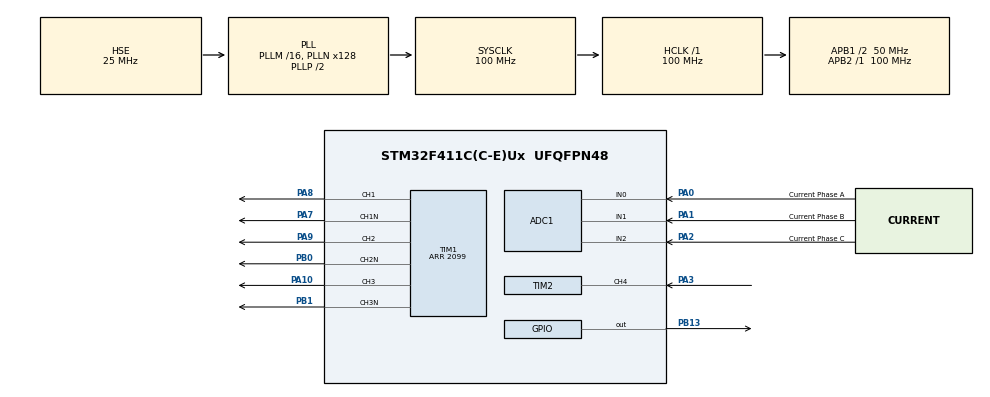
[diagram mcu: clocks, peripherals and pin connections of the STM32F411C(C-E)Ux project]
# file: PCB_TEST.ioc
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ADC1.Channel-0\#ChannelRegularConversion=ADC_CHANNEL_0
ADC1.Channel-1\#ChannelInjectedConversion=ADC_CHANNEL_0
ADC1.Channel-2\#ChannelInjectedConversion=ADC_CHANNEL_1
ADC1.ExternalTrigInjecConv=ADC_EXTERNALTRIGINJECCONV_T1_TRGO
ADC1.InjNumberOfConversion=2
ADC1.InjectedOffset-1\#ChannelInjectedConversion=0
ADC1.InjectedOffset-2\#ChannelInjectedConversion=0
ADC1.InjectedRank-1\#ChannelInjectedConversion=1
ADC1.InjectedRank-2\#ChannelInjectedConversion=2
ADC1.NbrOfConversion=1
ADC1.NbrOfConversionFlag=1
ADC1.Rank-0\#ChannelRegularConversion=1
ADC1.SamplingTime-0\#ChannelRegularConversion=ADC_SAMPLETIME_3CYCLES
ADC1.SamplingTime-1\#ChannelInjectedConversion=ADC_SAMPLETIME_3CYCLES
ADC1.SamplingTime-2\#ChannelInjectedConversion=ADC_SAMPLETIME_3CYCLES
ADC1.master=1
Mcu.Family=STM32F4
Mcu.Name=STM32F411C(C-E)Ux
Mcu.Package=UFQFPN48
NVIC.ADC_IRQn=true\:0\:0\:false\:false\:true\:true\:true\:true
NVIC.PriorityGroup=NVIC_PRIORITYGROUP_4
NVIC.TIM1_UP_TIM10_IRQn=true\:0\:0\:false\:false\:true\:true\:true\:true
NVIC.TIM2_IRQn=true\:0\:0\:false\:false\:true\:true\:true\:true
PA0-WKUP.GPIO_Label=Current Phase A
PA0-WKUP.Signal=ADCx_IN0
PA1.GPIO_Label=Current Phase B
PA1.Signal=ADCx_IN1
PA10.Signal=S_TIM1_CH3
PA13.Mode=Serial_Wire
PA13.Signal=SYS_JTMS-SWDIO
PA14.Mode=Serial_Wire
PA14.Signal=SYS_JTCK-SWCLK
PA2.GPIO_Label=Current Phase C
PA2.Signal=ADCx_IN2
PA3.Signal=S_TIM2_CH4
PA7.Mode=PWM Generation1 CH1 CH1N
PA7.Signal=TIM1_CH1N
PA8.Signal=S_TIM1_CH1
PA9.Signal=S_TIM1_CH2
PB0.Mode=PWM Generation2 CH2 CH2N
PB0.Signal=TIM1_CH2N
PB1.Mode=PWM Generation3 CH3 CH3N
PB1.Signal=TIM1_CH3N
PB13.Signal=GPIO_Output
PB6.Signal=USART1_TX
PB7.Signal=USART1_RX
PH0\ -\ OSC_IN.Mode=HSE-External-Oscillator
PH0\ -\ OSC_IN.Signal=RCC_OSC_IN
PH1\ -\ OSC_OUT.Mode=HSE-External-Oscillator
PH1\ -\ OSC_OUT.Signal=RCC_OSC_OUT
ProjectManager.HeapSize=0x200
ProjectManager.StackSize=0x400
ProjectManager.TargetToolchain=STM32CubeIDE
RCC.48MHZClocksFreq_Value=50000000
RCC.AHBFreq_Value=100000000
RCC.APB1CLKDivider=RCC_HCLK_DIV2
RCC.APB1Freq_Value=50000000
RCC.APB1TimFreq_Value=100000000
RCC.APB2Freq_Value=100000000
RCC.APB2TimFreq_Value=100000000
RCC.CortexFreq_Value=100000000
RCC.HCLKFreq_Value=100000000
RCC.HSE_VALUE=25000000
RCC.HSI_VALUE=16000000
RCC.LSE_VALUE=32768
RCC.PLLN=128
RCC.PLLSourceVirtual=RCC_PLLSOURCE_HSE
RCC.SYSCLKFreq_VALUE=100000000
RCC.SYSCLKSource=RCC_SYSCLKSOURCE_PLLCLK
RCC.VCOOutputFreq_Value=200000000
SH.ADCx_IN0.0=ADC1_IN0,IN0
SH.ADCx_IN1.0=ADC1_IN1,IN1
SH.ADCx_IN2.0=ADC1_IN2,IN2
SH.S_TIM1_CH1.0=TIM1_CH1,PWM Generation1 CH1 CH1N
SH.S_TIM1_CH2.0=TIM1_CH2,PWM Generation2 CH2 CH2N
SH.S_TIM1_CH3.0=TIM1_CH3,PWM Generation3 CH3 CH3N
SH.S_TIM2_CH4.0=TIM2_CH4,Input_Capture4_from_TI4
TIM1.Channel-PWM\ Generation1\ CH1\ CH1N=TIM_CHANNEL_1
TIM1.Channel-PWM\ Generation2\ CH2\ CH2N=TIM_CHANNEL_2
TIM1.Channel-PWM\ Generation3\ CH3\ CH3N=TIM_CHANNEL_3
TIM1.CounterMode=TIM_COUNTERMODE_CENTERALIGNED1
TIM1.DeadTime=120
TIM1.Period=2099
TIM1.TIM_MasterOutputTrigger=TIM_TRGO_UPDATE
TIM2.Channel-Input_Capture4_from_TI4=TIM_CHANNEL_4
TIM2.Prescaler=99
board=custom

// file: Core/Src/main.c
/* USER CODE BEGIN Header */
/**
  ******************************************************************************
  * @file           : main.c
  * @brief          : Main program body
  ******************************************************************************
  * @attention
  *
  * Copyright (c) 2026 STMicroelectronics.
  * All rights reserved.
  *
  * This software is licensed under terms that can be found in the LICENSE file
  * in the root directory of this software component.
  * If no LICENSE file comes with this software, it is provided AS-IS.
  *
  ******************************************************************************
  */
/* USER CODE END Header */
#include "main.h"

/* USER CODE BEGIN Includes */
#include "foc.h"
/* USER CODE END Includes */

ADC_HandleTypeDef hadc1;

TIM_HandleTypeDef htim1;
TIM_HandleTypeDef htim2;

/* USER CODE BEGIN PV */
FOC_Motor motor1;
uint16_t offset_A = 0;
uint16_t offset_B = 0;
//real Ia, Ib, Ic
float Ia = 0.0f;
float Ib = 0.0f;
float Ic = 0.0f;
#define ADC_TO_AMPS_FACTOR  0.0125f
/* USER CODE END PV */

void SystemClock_Config(void);
static void MX_GPIO_Init(void);
static void MX_TIM1_Init(void);
static void MX_ADC1_Init(void);
static void MX_TIM2_Init(void);

/* USER CODE BEGIN 0 */
void FOC_SetPWM_Hardware(float dutyA, float dutyB, float dutyC) {
    TIM1->CCR1 = (uint16_t)(dutyA * PWM_PERIOD_ARR);
    TIM1->CCR2 = (uint16_t)(dutyB * PWM_PERIOD_ARR);
    TIM1->CCR3 = (uint16_t)(dutyC * PWM_PERIOD_ARR);
}
void Calibrate_ADC_Offset(void) {
    uint32_t sum_A = 0;
    uint32_t sum_B = 0;

    // 0. BẬT NGUỒN KHỐI ADC LÊN TRƯỚC (QUAN TRỌNG NHẤT!)
    __HAL_ADC_ENABLE(&hadc1);

    // Chờ 1 chút xíu (khoảng vài micro giây) để điện áp lõi ADC ổn định
    for(volatile int wait = 0; wait < 10000; wait++);

    // 1. Lưu lại cấu hình Trigger hiện tại của CubeMX
    uint32_t old_cr2 = hadc1.Instance->CR2;

    // 2. Tắt External Trigger để ép ADC đọc thủ công bằng phần mềm
    hadc1.Instance->CR2 &= ~ADC_CR2_JEXTEN;

    // 3. Đọc 1000 mẫu siêu tốc
    for(int i = 0; i < 1000; i++) {
        hadc1.Instance->CR2 |= ADC_CR2_JSWSTART;        // Bóp cò bằng phần mềm
        while((hadc1.Instance->SR & ADC_SR_JEOC) == 0); // CHẮC CHẮN KHÔNG CÒN BỊ TREO Ở ĐÂY NỮA
        hadc1.Instance->SR &= ~ADC_SR_JEOC;             // Xóa cờ hoàn thành

        sum_A += hadc1.Instance->JDR1;
        sum_B += hadc1.Instance->JDR2;
    }

    // 4. Chia trung bình để lấy Offset thực tế
    offset_A = sum_A / 1000;
    offset_B = sum_B / 1000;

    // 5. Trả lại cấu hình Trigger phần cứng từ Timer 1
    hadc1.Instance->CR2 = old_cr2;
}

void HAL_ADCEx_InjectedConvCpltCallback(ADC_HandleTypeDef* hadc) {
    if (hadc->Instance == ADC1) {
        uint16_t raw_ADC_A = hadc->Instance->JDR1;
        uint16_t raw_ADC_B = hadc->Instance->JDR2;
        int16_t delta_A = raw_ADC_A - offset_A;
        int16_t delta_B = raw_ADC_B - offset_B;
        Ia = (float)delta_A * ADC_TO_AMPS_FACTOR;
        Ib = (float)delta_B * ADC_TO_AMPS_FACTOR;
        Ic = -Ia - Ib;
        motor1.Ia = Ia;
        motor1.Ib = Ib;
        motor1.Ic = Ic;
    }
}

/* USER CODE END 0 */

int main(void)
{

  /* MCU Configuration--------------------------------------------------------*/

  /* Reset of all peripherals, Initializes the Flash interface and the Systick. */
  HAL_Init();

  /* USER CODE BEGIN Init */
  FOC_Init(&motor1);
  /* USER CODE END Init */

  /* Configure the system clock */
  SystemClock_Config();

  /* Initialize all configured peripherals */
  MX_GPIO_Init();
  MX_TIM1_Init();
  MX_ADC1_Init();
  MX_TIM2_Init();
  /* USER CODE BEGIN 2 */

  FOC_Init(&motor1);

  TIM1->CCR1 = 1049;
  TIM1->CCR2 = 1049;
  TIM1->CCR3 = 1049;
  TIM1->BDTR |= TIM_BDTR_MOE;
  HAL_TIM_PWM_Start(&htim1, TIM_CHANNEL_1);
  HAL_TIMEx_PWMN_Start(&htim1, TIM_CHANNEL_1);
  HAL_TIM_PWM_Start(&htim1, TIM_CHANNEL_2);
  HAL_TIMEx_PWMN_Start(&htim1, TIM_CHANNEL_2);
  HAL_TIM_PWM_Start(&htim1, TIM_CHANNEL_3);
  HAL_TIMEx_PWMN_Start(&htim1, TIM_CHANNEL_3);

  HAL_Delay(50);

  Calibrate_ADC_Offset();
  HAL_ADCEx_InjectedStart_IT(&hadc1);

  HAL_TIM_IC_Start_IT(&htim2, TIM_CHANNEL_4);

  TIM1->BDTR |= TIM_BDTR_MOE;
  HAL_TIM_PWM_Start(&htim1, TIM_CHANNEL_1);
  HAL_TIMEx_PWMN_Start(&htim1, TIM_CHANNEL_1);

  HAL_TIM_PWM_Start(&htim1, TIM_CHANNEL_2);
  HAL_TIMEx_PWMN_Start(&htim1, TIM_CHANNEL_2);

  HAL_TIM_PWM_Start(&htim1, TIM_CHANNEL_3);
  HAL_TIMEx_PWMN_Start(&htim1, TIM_CHANNEL_3);

  HAL_TIM_Base_Start_IT(&htim1);
  /* USER CODE END 2 */

  /* Infinite loop */
  /* USER CODE BEGIN WHILE */
  while (1)
  {
	HAL_GPIO_TogglePin(GPIOB, GPIO_PIN_13);
	HAL_Delay(500);
    /* USER CODE END WHILE */

  }
}

void SystemClock_Config(void)
{
  RCC_OscInitTypeDef RCC_OscInitStruct = {0};
  RCC_ClkInitTypeDef RCC_ClkInitStruct = {0};

  /** Configure the main internal regulator output voltage
  */
  __HAL_RCC_PWR_CLK_ENABLE();
  __HAL_PWR_VOLTAGESCALING_CONFIG(PWR_REGULATOR_VOLTAGE_SCALE1);

  /** Initializes the RCC Oscillators according to the specified parameters
  * in the RCC_OscInitTypeDef structure.
  */
  RCC_OscInitStruct.OscillatorType = RCC_OSCILLATORTYPE_HSE;
  RCC_OscInitStruct.HSEState = RCC_HSE_ON;
  RCC_OscInitStruct.PLL.PLLState = RCC_PLL_ON;
  RCC_OscInitStruct.PLL.PLLSource = RCC_PLLSOURCE_HSE;
  RCC_OscInitStruct.PLL.PLLM = 16;
  RCC_OscInitStruct.PLL.PLLN = 128;
  RCC_OscInitStruct.PLL.PLLP = RCC_PLLP_DIV2;
  RCC_OscInitStruct.PLL.PLLQ = 4;
  if (HAL_RCC_OscConfig(&RCC_OscInitStruct) != HAL_OK)
  {
    Error_Handler();
  }

  /** Initializes the CPU, AHB and APB buses clocks
  */
  RCC_ClkInitStruct.ClockType = RCC_CLOCKTYPE_HCLK|RCC_CLOCKTYPE_SYSCLK
                              |RCC_CLOCKTYPE_PCLK1|RCC_CLOCKTYPE_PCLK2;
  RCC_ClkInitStruct.SYSCLKSource = RCC_SYSCLKSOURCE_PLLCLK;
  RCC_ClkInitStruct.AHBCLKDivider = RCC_SYSCLK_DIV1;
  RCC_ClkInitStruct.APB1CLKDivider = RCC_HCLK_DIV2;
  RCC_ClkInitStruct.APB2CLKDivider = RCC_HCLK_DIV1;

  if (HAL_RCC_ClockConfig(&RCC_ClkInitStruct, FLASH_LATENCY_3) != HAL_OK)
  {
    Error_Handler();
  }
}

static void MX_ADC1_Init(void)
{

  ADC_ChannelConfTypeDef sConfig = {0};
  ADC_InjectionConfTypeDef sConfigInjected = {0};

  /** Configure the global features of the ADC (Clock, Resolution, Data Alignment and number of conversion)
  */
  hadc1.Instance = ADC1;
  hadc1.Init.ClockPrescaler = ADC_CLOCK_SYNC_PCLK_DIV4;
  hadc1.Init.Resolution = ADC_RESOLUTION_12B;
  hadc1.Init.ScanConvMode = ENABLE;
  hadc1.Init.ContinuousConvMode = DISABLE;
  hadc1.Init.DiscontinuousConvMode = DISABLE;
  hadc1.Init.ExternalTrigConvEdge = ADC_EXTERNALTRIGCONVEDGE_NONE;
  hadc1.Init.ExternalTrigConv = ADC_SOFTWARE_START;
  hadc1.Init.DataAlign = ADC_DATAALIGN_RIGHT;
  hadc1.Init.NbrOfConversion = 1;
  hadc1.Init.DMAContinuousRequests = DISABLE;
  hadc1.Init.EOCSelection = ADC_EOC_SINGLE_CONV;
  if (HAL_ADC_Init(&hadc1) != HAL_OK)
  {
    Error_Handler();
  }

  /** Configure for the selected ADC regular channel its corresponding rank in the sequencer and its sample time.
  */
  sConfig.Channel = ADC_CHANNEL_0;
  sConfig.Rank = 1;
  sConfig.SamplingTime = ADC_SAMPLETIME_3CYCLES;
  if (HAL_ADC_ConfigChannel(&hadc1, &sConfig) != HAL_OK)
  {
    Error_Handler();
  }

  /** Configures for the selected ADC injected channel its corresponding rank in the sequencer and its sample time
  */
  sConfigInjected.InjectedChannel = ADC_CHANNEL_0;
  sConfigInjected.InjectedRank = 1;
  sConfigInjected.InjectedNbrOfConversion = 2;
  sConfigInjected.InjectedSamplingTime = ADC_SAMPLETIME_3CYCLES;
  sConfigInjected.ExternalTrigInjecConvEdge = ADC_EXTERNALTRIGINJECCONVEDGE_RISING;
  sConfigInjected.ExternalTrigInjecConv = ADC_EXTERNALTRIGINJECCONV_T1_TRGO;
  sConfigInjected.AutoInjectedConv = DISABLE;
  sConfigInjected.InjectedDiscontinuousConvMode = DISABLE;
  sConfigInjected.InjectedOffset = 0;
  if (HAL_ADCEx_InjectedConfigChannel(&hadc1, &sConfigInjected) != HAL_OK)
  {
    Error_Handler();
  }

  /** Configures for the selected ADC injected channel its corresponding rank in the sequencer and its sample time
  */
  sConfigInjected.InjectedChannel = ADC_CHANNEL_1;
  sConfigInjected.InjectedRank = 2;
  if (HAL_ADCEx_InjectedConfigChannel(&hadc1, &sConfigInjected) != HAL_OK)
  {
    Error_Handler();
  }

}

static void MX_TIM1_Init(void)
{

  TIM_MasterConfigTypeDef sMasterConfig = {0};
  TIM_OC_InitTypeDef sConfigOC = {0};
  TIM_BreakDeadTimeConfigTypeDef sBreakDeadTimeConfig = {0};

  htim1.Instance = TIM1;
  htim1.Init.Prescaler = 0;
  htim1.Init.CounterMode = TIM_COUNTERMODE_CENTERALIGNED1;
  htim1.Init.Period = 2099;
  htim1.Init.ClockDivision = TIM_CLOCKDIVISION_DIV1;
  htim1.Init.RepetitionCounter = 0;
  htim1.Init.AutoReloadPreload = TIM_AUTORELOAD_PRELOAD_DISABLE;
  if (HAL_TIM_PWM_Init(&htim1) != HAL_OK)
  {
    Error_Handler();
  }
  sMasterConfig.MasterOutputTrigger = TIM_TRGO_UPDATE;
  sMasterConfig.MasterSlaveMode = TIM_MASTERSLAVEMODE_DISABLE;
  if (HAL_TIMEx_MasterConfigSynchronization(&htim1, &sMasterConfig) != HAL_OK)
  {
    Error_Handler();
  }
  sConfigOC.OCMode = TIM_OCMODE_PWM1;
  sConfigOC.Pulse = 0;
  sConfigOC.OCPolarity = TIM_OCPOLARITY_HIGH;
  sConfigOC.OCNPolarity = TIM_OCNPOLARITY_HIGH;
  sConfigOC.OCFastMode = TIM_OCFAST_DISABLE;
  sConfigOC.OCIdleState = TIM_OCIDLESTATE_RESET;
  sConfigOC.OCNIdleState = TIM_OCNIDLESTATE_RESET;
  if (HAL_TIM_PWM_ConfigChannel(&htim1, &sConfigOC, TIM_CHANNEL_1) != HAL_OK)
  {
    Error_Handler();
  }
  if (HAL_TIM_PWM_ConfigChannel(&htim1, &sConfigOC, TIM_CHANNEL_2) != HAL_OK)
  {
    Error_Handler();
  }
  if (HAL_TIM_PWM_ConfigChannel(&htim1, &sConfigOC, TIM_CHANNEL_3) != HAL_OK)
  {
    Error_Handler();
  }
  sBreakDeadTimeConfig.OffStateRunMode = TIM_OSSR_DISABLE;
  sBreakDeadTimeConfig.OffStateIDLEMode = TIM_OSSI_DISABLE;
  sBreakDeadTimeConfig.LockLevel = TIM_LOCKLEVEL_OFF;
  sBreakDeadTimeConfig.DeadTime = 120;
  sBreakDeadTimeConfig.BreakState = TIM_BREAK_DISABLE;
  sBreakDeadTimeConfig.BreakPolarity = TIM_BREAKPOLARITY_HIGH;
  sBreakDeadTimeConfig.AutomaticOutput = TIM_AUTOMATICOUTPUT_DISABLE;
  if (HAL_TIMEx_ConfigBreakDeadTime(&htim1, &sBreakDeadTimeConfig) != HAL_OK)
  {
    Error_Handler();
  }
  HAL_TIM_MspPostInit(&htim1);

}

static void MX_TIM2_Init(void)
{

  TIM_MasterConfigTypeDef sMasterConfig = {0};
  TIM_IC_InitTypeDef sConfigIC = {0};

  htim2.Instance = TIM2;
  htim2.Init.Prescaler = 99;
  htim2.Init.CounterMode = TIM_COUNTERMODE_UP;
  htim2.Init.Period = 4294967295;
  htim2.Init.ClockDivision = TIM_CLOCKDIVISION_DIV1;
  htim2.Init.AutoReloadPreload = TIM_AUTORELOAD_PRELOAD_DISABLE;
  if (HAL_TIM_IC_Init(&htim2) != HAL_OK)
  {
    Error_Handler();
  }
  sMasterConfig.MasterOutputTrigger = TIM_TRGO_RESET;
  sMasterConfig.MasterSlaveMode = TIM_MASTERSLAVEMODE_DISABLE;
  if (HAL_TIMEx_MasterConfigSynchronization(&htim2, &sMasterConfig) != HAL_OK)
  {
    Error_Handler();
  }
  sConfigIC.ICPolarity = TIM_INPUTCHANNELPOLARITY_RISING;
  sConfigIC.ICSelection = TIM_ICSELECTION_DIRECTTI;
  sConfigIC.ICPrescaler = TIM_ICPSC_DIV1;
  sConfigIC.ICFilter = 0;
  if (HAL_TIM_IC_ConfigChannel(&htim2, &sConfigIC, TIM_CHANNEL_4) != HAL_OK)
  {
    Error_Handler();
  }

}

static void MX_GPIO_Init(void)
{
  GPIO_InitTypeDef GPIO_InitStruct = {0};

  /* GPIO Ports Clock Enable */
  __HAL_RCC_GPIOH_CLK_ENABLE();
  __HAL_RCC_GPIOA_CLK_ENABLE();
  __HAL_RCC_GPIOB_CLK_ENABLE();

  /*Configure GPIO pin Output Level */
  HAL_GPIO_WritePin(GPIOB, GPIO_PIN_13, GPIO_PIN_RESET);

  /*Configure GPIO pin : PB13 */
  GPIO_InitStruct.Pin = GPIO_PIN_13;
  GPIO_InitStruct.Mode = GPIO_MODE_OUTPUT_PP;
  GPIO_InitStruct.Pull = GPIO_NOPULL;
  GPIO_InitStruct.Speed = GPIO_SPEED_FREQ_LOW;
  HAL_GPIO_Init(GPIOB, &GPIO_InitStruct);

  /*Configure GPIO pins : PB6 PB7 */
  GPIO_InitStruct.Pin = GPIO_PIN_6|GPIO_PIN_7;
  GPIO_InitStruct.Mode = GPIO_MODE_AF_PP;
  GPIO_InitStruct.Pull = GPIO_NOPULL;
  GPIO_InitStruct.Speed = GPIO_SPEED_FREQ_VERY_HIGH;
  GPIO_InitStruct.Alternate = GPIO_AF7_USART1;
  HAL_GPIO_Init(GPIOB, &GPIO_InitStruct);

}

/* USER CODE BEGIN 4 */
uint32_t IC_Val1 = 0;
uint32_t IC_Val2 = 0;
uint32_t PWM_Width = 0;
uint8_t Is_First_Captured = 0;

void HAL_TIM_IC_CaptureCallback(TIM_HandleTypeDef *htim)
{
    if (htim->Instance == TIM2 && htim->Channel == HAL_TIM_ACTIVE_CHANNEL_4)
    {
        if (Is_First_Captured == 0)
        {
            IC_Val1 = HAL_TIM_ReadCapturedValue(htim, TIM_CHANNEL_4);
            Is_First_Captured = 1;
            __HAL_TIM_SET_CAPTUREPOLARITY(htim, TIM_CHANNEL_4, TIM_INPUTCHANNELPOLARITY_FALLING);
        }
        else if (Is_First_Captured == 1)
        {
            IC_Val2 = HAL_TIM_ReadCapturedValue(htim, TIM_CHANNEL_4);
            if (IC_Val2 > IC_Val1) {
                PWM_Width = IC_Val2 - IC_Val1;
            } else if (IC_Val1 > IC_Val2) {
                PWM_Width = (0xFFFFFFFF - IC_Val1) + IC_Val2 + 1;
            }

            if (PWM_Width < 900 || PWM_Width > 2100) {
                motor1.target_RPM = 0.0f;
            }
            else {
                if (PWM_Width < 1050) PWM_Width = 1000;
                if (PWM_Width > 1950) PWM_Width = 2000;
                motor1.target_RPM = (float)(PWM_Width - 1000) * (8000.0f / 1000.0f);
            }
            Is_First_Captured = 0;
            __HAL_TIM_SET_CAPTUREPOLARITY(htim, TIM_CHANNEL_4, TIM_INPUTCHANNELPOLARITY_RISING);
        }
    }
}

void HAL_TIM_PeriodElapsedCallback(TIM_HandleTypeDef *htim) {
    if (htim->Instance == TIM1) {
        FOC_Routine(&motor1);
    }
}
/* USER CODE END 4 */

void Error_Handler(void)
{
  __disable_irq();
  while (1)
  {
  }
}
